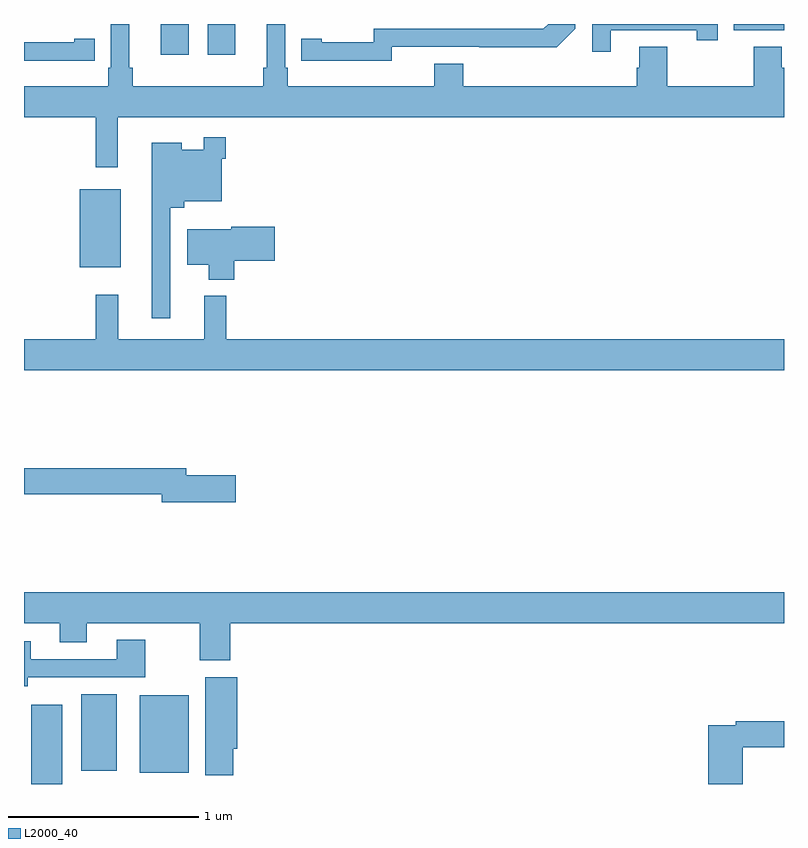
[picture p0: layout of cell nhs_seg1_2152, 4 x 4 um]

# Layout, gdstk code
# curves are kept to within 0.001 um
import gdstk
lib = gdstk.Library(unit=1e-6, precision=1e-09)
def R(c, l, rs):  # rectangles x0, y0, x1, y1
    for r in rs: c.add(gdstk.rectangle(r[:2], r[2:], *l))
def P(c, l, *ps):  # polygons
    for p in ps: c.add(gdstk.Polygon(p, *l))
L2000_40 = (2000, 40)

nhs_seg1_2152 = lib.new_cell('nhs_seg1_2152')
R(nhs_seg1_2152, L2000_40, [(227.039,572.199,227.2,572.617), (227.609,572.258,227.866,572.665), (227.3,572.27,227.488,572.671), (227.294,574.919,227.509,575.329), (227.72,576.036,227.866,576.199), (227.966,576.036,228.112,576.199), (230.736,576.165,231,576.199)])
P(nhs_seg1_2152, L2000_40, [(227.494,575.708),(231,575.708),(231,575.97),(230.989,575.97),(230.989,576.08),(230.842,576.08),(230.842,575.872),(230.385,575.872),(230.385,576.08),(230.237,576.08),(230.237,575.97),(230.225,575.97),(230.225,575.872),(229.313,575.872),(229.313,575.989),(229.16,575.989),(229.16,575.872),(228.389,575.872),(228.389,575.968),(228.375,575.968),(228.375,576.199),(228.278,576.199),(228.278,575.968),(228.259,575.968),(228.259,575.872),(227.573,575.872),(227.573,575.968),(227.554,575.968),(227.554,576.199),(227.457,576.199),(227.457,575.968),(227.444,575.968),(227.444,575.872),(227,575.872),(227,575.708),(227.377,575.708),(227.377,575.445),(227.494,575.445)],
  [(230.089,576.165),(230.54,576.165),(230.54,576.114),(230.651,576.114),(230.651,576.199),(229.992,576.199),(229.992,576.054),(230.089,576.054)],
  [(228.936,576.078),(229.804,576.077),(229.902,576.174),(229.902,576.199),(229.759,576.199),(229.734,576.174),(228.84,576.174),(228.84,576.102),(228.568,576.102),(228.568,576.122),(228.46,576.122),(228.46,576.006),(228.936,576.005)],
  [(227.264,576.006),(227.372,576.006),(227.372,576.122),(227.264,576.122),(227.264,576.102),(227,576.102),(227,576.005),(227.264,576.005)],
  [(227.769,575.231),(227.843,575.231),(227.843,575.267),(228.042,575.267),(228.042,575.489),(228.062,575.489),(228.062,575.602),(227.946,575.602),(227.946,575.536),(227.83,575.536),(227.83,575.575),(227.672,575.575),(227.672,574.65),(227.769,574.65)],
  [(228.107,574.954),(228.319,574.954),(228.319,575.132),(228.09,575.132),(228.09,575.119),(227.858,575.119),(227.858,574.931),(227.972,574.931),(227.972,574.853),(228.107,574.853)],
  [(231,574.54),(228.065,574.54),(228.065,574.768),(227.948,574.768),(227.948,574.54),(227.495,574.54),(227.495,574.774),(227.377,574.774),(227.377,574.54),(227,574.54),(227,574.376),(231,574.376)],
  [(228.115,573.824),(227.854,573.824),(227.854,573.86),(227,573.86),(227,573.724),(227.726,573.724),(227.726,573.682),(228.115,573.682)],
  [(228.086,573.044),(231,573.044),(231,573.208),(227,573.208),(227,573.044),(227.189,573.044),(227.189,572.945),(227.329,572.945),(227.329,573.044),(227.926,573.044),(227.926,572.85),(228.086,572.85)],
  [(227.02,572.76),(227.637,572.76),(227.637,572.959),(227.489,572.959),(227.489,572.856),(227.035,572.856),(227.035,572.95),(227,572.95),(227,572.714),(227.02,572.714)],
  [(228.101,572.385),(228.122,572.385),(228.122,572.761),(227.954,572.761),(227.954,572.245),(228.101,572.245)],
  [(230.783,572.392),(231,572.392),(231,572.528),(230.746,572.528),(230.746,572.508),(230.6,572.508),(230.6,572.199),(230.783,572.199)])

lib.write_gds('nhs_seg1_2152.gds')
